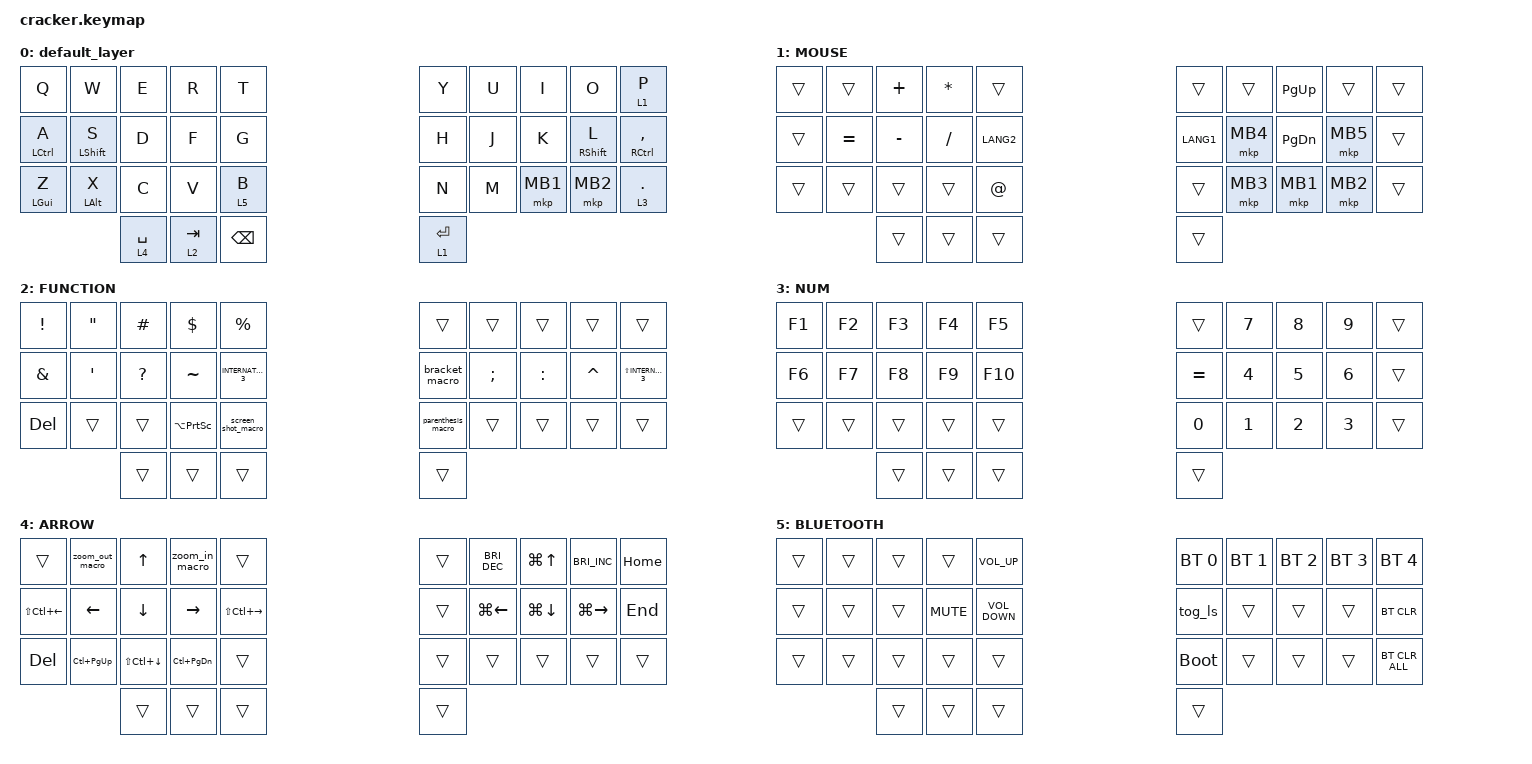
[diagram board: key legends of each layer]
#include <input/processors.dtsi>
#include <layout_shift.dtsi>
#include <layout_shift_kp_override.dtsi>
#include <behaviors.dtsi>
#include <dt-bindings/zmk/bt.h>
#include <dt-bindings/zmk/keys.h>
#include <dt-bindings/zmk/pointing.h>

#define MOUSE 1

&mt {
    flavor = "balanced";
    quick-tap-ms = <200>;
    tapping-term-ms = <400>;
};

&lt {
    flavor = "balanced";
    quick-tap-ms = <200>;
    tapping-term-ms = <400>;
};

/ {
    combos {
        compatible = "zmk,combos";

        combo_escape {
            timeout-ms = <50>;
            key-positions = <0 1>;
            bindings = <&kp ESC>;
            layers = <0>;
        };

        combo_paste_value {
            timeout-ms = <50>;
            key-positions = <1 2>;
            bindings = <&kp LS(LC(V))>;
            layers = <0>;
        };

        combo_cut {
            timeout-ms = <50>;
            key-positions = <2 3>;
            bindings = <&kp LC(X)>;
            layers = <0>;
        };

        combo_select_all {
            timeout-ms = <50>;
            key-positions = <10 11>;
            bindings = <&kp LC(A)>;
            layers = <0>;
        };

        combo_paste {
            timeout-ms = <50>;
            key-positions = <11 12>;
            bindings = <&kp LC(V)>;
            layers = <0>;
        };

        combo_copy {
            timeout-ms = <50>;
            key-positions = <12 13>;
            bindings = <&kp LC(C)>;
            layers = <0>;
        };

        combo_copy_right {
            timeout-ms = <50>;
            key-positions = <13 14>;
            bindings = <&kp LC(R)>;
            layers = <0>;
        };

        combo_copy_down {
            timeout-ms = <50>;
            key-positions = <22 23>;
            bindings = <&kp LC(D)>;
            layers = <0>;
        };

        combo_home {
            timeout-ms = <50>;
            key-positions = <8 9>;
            bindings = <&kp LC(HOME)>;
            layers = <0>;
        };

        combo_find {
            timeout-ms = <50>;
            key-positions = <15 16>;
            bindings = <&kp LC(F)>;
            layers = <0>;
        };

        combo_replace {
            timeout-ms = <50>;
            key-positions = <16 17>;
            bindings = <&kp LC(H)>;
            layers = <0>;
        };

        combo_list {
            timeout-ms = <50>;
            key-positions = <17 18>;
            bindings = <&kp LS(LC(L))>;
            layers = <0>;
        };

        combo_date {
            timeout-ms = <50>;
            key-positions = <18 19>;
            bindings = <&kp LC(SEMICOLON)>;
            layers = <0>;
        };

        combo_center_dot {
            timeout-ms = <50>;
            key-positions = <28 29>;
            bindings = <&kp SLASH>;
            layers = <0>;
        };
    };

    macros {
        to_layer_0: to_layer_0 {
            compatible = "zmk,behavior-macro-one-param";
            #binding-cells = <1>;
            bindings = <&to 0 &macro_param_1to1 &kp MACRO_PLACEHOLDER>;
            label = "TO_LAYER_0";
        };

        screen_shot_macro: screen_shot_macro {
            compatible = "zmk,behavior-macro";
            #binding-cells = <0>;
            bindings =
                <&macro_press>,
                <&kp LEFT_GUI &kp RSHIFT>,
                <&macro_wait_time 20>,
                <&macro_tap>,
                <&kp S>,
                <&macro_release>,
                <&kp LEFT_GUI &kp RSHIFT>;

            label = "SCREENSHOT";
        };

        parenthesis_macro: parenthesis_macro {
            compatible = "zmk,behavior-macro";
            #binding-cells = <0>;
            bindings = <&kp LEFT_PARENTHESIS &kp RIGHT_PARENTHESIS &kp LEFT>;
            label = "PARENTHESIS_MACRO";
        };

        bracket_macro: bracket_macro {
            compatible = "zmk,behavior-macro";
            #binding-cells = <0>;
            bindings = <&kp LEFT_BRACKET &kp RIGHT_BRACKET &kp LEFT>;
            label = "BRACKET_MACRO";
        };

        zoom_in_macro: zoom_in_macro {
            compatible = "zmk,behavior-macro";
            #binding-cells = <0>;
            bindings =
                <&macro_press>,
                <&kp LCTRL>,
                <&macro_tap>,
                <&kp C_AC_SCROLL_UP>,
                <&macro_release>,
                <&kp LEFT_CONTROL>;

            label = "ZOOM_IN_MACRO";
        };

        zoom_out_macro: zoom_out_macro {
            compatible = "zmk,behavior-macro";
            #binding-cells = <0>;
            bindings =
                <&macro_press>,
                <&kp LCTRL>,
                <&macro_tap>,
                <&kp C_AC_SCROLL_DOWN>,
                <&macro_release>,
                <&kp LCTRL>;

            label = "ZOOM_OUT_MACRO";
        };
    };

    behaviors {
        lt_to_layer_0: lt_to_layer_0 {
            compatible = "zmk,behavior-hold-tap";
            label = "LAYER_TAP_TO_0";
            bindings = <&mo>, <&to_layer_0>;

            #binding-cells = <2>;
            tapping-term-ms = <200>;
        };

        tog_off: toggle_layer_off {
            compatible = "zmk,behavior-toggle-layer";
            #binding-cells = <1>;
            display-name = "Toggle Layer Off";
            toggle-mode = "off";
        };

        kp: key_press {
            compatible = "zmk,behavior-layout-shift-key-press";
            #binding-cells = <1>;
            label = "LAYOUT_SHIFT_KEY_PRESS";
        };

        tog_ls: toggle_layout_shift {
            compatible = "zmk,behavior-layout-shift-toggle";
            #binding-cells = <0>;
            toggle-mode = "flip";
            layout-maps = <&layout_shift_map_us_to_jis>;
            label = "LAYOUT_SHIFT_TOGGLE";
        };

        tog_ls_on: toggle_layout_shift_on {
            compatible = "zmk,behavior-layout-shift-toggle";
            #binding-cells = <0>;
            toggle-mode = "on";
            layout-maps = <&layout_shift_map_us_to_jis>;
            label = "LAYOUT_SHIFT_TOGGLE_ON";
        };

        tog_ls_off: toggle_layout_shift_off {
            compatible = "zmk,behavior-layout-shift-toggle";
            #binding-cells = <0>;
            toggle-mode = "off";
            layout-maps = <&layout_shift_map_us_to_jis>;
            label = "LAYOUT_SHIFT_TOGGLE_OFF";
        };
    };

    keymap {
        compatible = "zmk,keymap";

        default_layer {
            bindings = <
&kp Q               &kp W             &kp E        &kp R      &kp T                  &kp Y        &kp U  &kp I     &kp O              &lt 1 P
&mt LEFT_CONTROL A  &mt LEFT_SHIFT S  &kp D        &kp F      &kp G                  &kp H        &kp J  &kp K     &mt RIGHT_SHIFT L  &mt RIGHT_CONTROL COMMA
&mt LEFT_GUI Z      &mt LEFT_ALT X    &kp C        &kp V      &lt 5 B                &kp N        &kp M  &mkp MB1  &mkp MB2           &lt 3 PERIOD
                                      &lt 4 SPACE  &lt 2 TAB  &kp BACKSPACE          &lt 1 ENTER
            >;
        };

        MOUSE {
            bindings = <
&trans  &trans     &kp PLUS   &kp ASTERISK  &trans             &trans     &trans    &kp PAGE_UP    &trans    &trans
&trans  &kp EQUAL  &kp MINUS  &kp SLASH     &kp LANG2          &kp LANG1  &mkp MB4  &kp PAGE_DOWN  &mkp MB5  &trans
&trans  &trans     &trans     &trans        &kp AT             &trans     &mkp MB3  &mkp MB1       &mkp MB2  &trans
                   &trans     &trans        &trans             &trans
            >;
        };

        FUNCTION {
            bindings = <
&kp EXCLAMATION  &kp DOUBLE_QUOTES  &kp HASH      &kp DOLLAR           &kp PERCENT                  &trans              &trans         &trans     &trans     &trans
&kp AMPERSAND    &kp SINGLE_QUOTE   &kp QUESTION  &kp TILDE            &kp INTERNATIONAL_3          &bracket_macro      &kp SEMICOLON  &kp COLON  &kp CARET  &kp LS(INTERNATIONAL_3)
&kp DEL          &trans             &trans        &kp LA(PRINTSCREEN)  &screen_shot_macro           &parenthesis_macro  &trans         &trans     &trans     &trans
                                    &trans        &trans               &trans                       &trans
            >;
        };

        NUM {
            bindings = <
&kp F1  &kp F2  &kp F3  &kp F4  &kp F5           &trans        &kp NUMBER_7  &kp NUMBER_8  &kp NUMBER_9  &trans
&kp F6  &kp F7  &kp F8  &kp F9  &kp F10          &kp EQUAL     &kp NUMBER_4  &kp NUMBER_5  &kp NUMBER_6  &trans
&trans  &trans  &trans  &trans  &trans           &kp NUMBER_0  &kp NUMBER_1  &kp NUMBER_2  &kp NUMBER_3  &trans
                &trans  &trans  &trans           &trans
            >;
        };

        ARROW {
            bindings = <
&trans                  &zoom_out_macro  &kp UP_ARROW            &zoom_in_macro     &trans                           &trans  &kp C_BRIGHTNESS_DEC  &kp LG(UP_ARROW)    &kp C_BRIGHTNESS_INC  &kp HOME
&kp LS(LC(LEFT_ARROW))  &kp LEFT_ARROW   &kp DOWN_ARROW          &kp RIGHT_ARROW    &kp LS(LC(RIGHT_ARROW))          &trans  &kp LG(LEFT_ARROW)    &kp LG(DOWN_ARROW)  &kp LG(RIGHT_ARROW)   &kp END
&kp DEL                 &kp LC(PAGE_UP)  &kp LS(LC(DOWN_ARROW))  &kp LC(PAGE_DOWN)  &trans                           &trans  &trans                &trans              &trans                &trans
                                         &trans                  &trans             &trans                           &trans
            >;
        };

        BLUETOOTH {
            bindings = <
&trans  &trans  &trans  &trans      &kp C_VOLUME_UP            &bt BT_SEL 0  &bt BT_SEL 1  &bt BT_SEL 2  &bt BT_SEL 3  &bt BT_SEL 4
&trans  &trans  &trans  &kp C_MUTE  &kp C_VOLUME_DOWN          &tog_ls       &trans        &trans        &trans        &bt BT_CLR
&trans  &trans  &trans  &trans      &trans                     &bootloader   &trans        &trans        &trans        &bt BT_CLR_ALL
                &trans  &trans      &trans                     &trans
            >;
        };
    };
};
